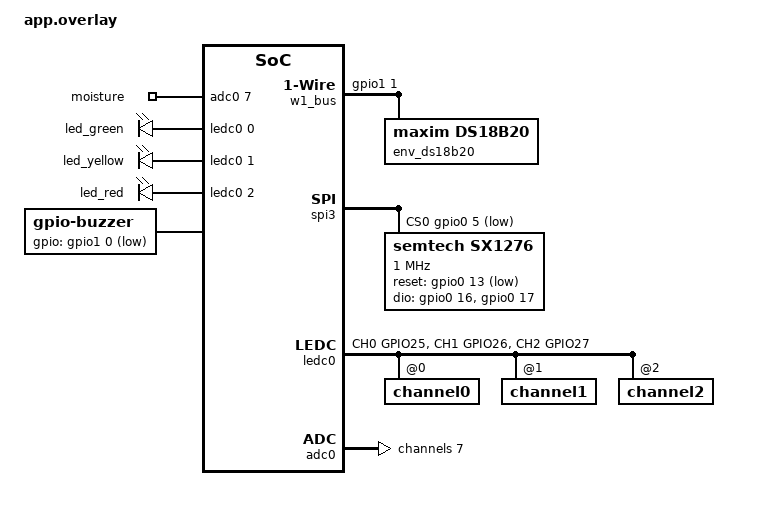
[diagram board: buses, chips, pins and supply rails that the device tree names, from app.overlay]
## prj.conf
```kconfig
CONFIG_GPIO=y
CONFIG_MIN_HEAP=y
CONFIG_ZMS=y
CONFIG_FLASH=y
CONFIG_FLASH_MAP=y

CONFIG_LOG=y
CONFIG_LOG_DEFAULT_LEVEL=3

CONFIG_SPI_LOG_LEVEL_WRN=y
CONFIG_FLASH_LOG_LEVEL_WRN=y
CONFIG_CLOCK_CONTROL_LOG_LEVEL_WRN=y

CONFIG_LORA=y
CONFIG_LORAWAN=y
CONFIG_LORAWAN_SYSTEM_MAX_RX_ERROR=100
CONFIG_LORAWAN_REGION_EU868=y

CONFIG_LORIS=y
CONFIG_STACK_SENTINEL=y
CONFIG_MAIN_STACK_SIZE=16384
CONFIG_SYSTEM_WORKQUEUE_STACK_SIZE=4096
CONFIG_LOG_MODE_IMMEDIATE=y

CONFIG_ADC=y
CONFIG_FPU=y

CONFIG_BUZZER=y
CONFIG_BUZZER_GPIO=y

CONFIG_SENSOR=y
CONFIG_W1=y
CONFIG_W1_NET=y

CONFIG_LED=y
CONFIG_LED_PWM=y
CONFIG_PWM=y

CONFIG_LORIS_RECONNECT_INTERVAL=10

# CONFIG_PM=y
# CONFIG_PM_DEVICE=y
# CONFIG_PM_LOG_LEVEL_DBG=y
# 
# CONFIG_COUNTER=y
```

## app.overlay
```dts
&spi3 {
  status = "okay";
  cs-gpios = <&gpio0 5 (GPIO_ACTIVE_LOW | GPIO_PULL_UP)>;

  sx1276: lora@0 {
    compatible = "semtech,sx1276";
    reg = <0>;

    reset-gpios = <&gpio0 13 GPIO_ACTIVE_LOW>;

    // order of dio pins matters - idx 0 -> DIO0, idx 1 -> DIO1 and so on
    dio-gpios = <&gpio0 16 (GPIO_PULL_DOWN | GPIO_ACTIVE_HIGH)>,
      <&gpio0 17 (GPIO_PULL_DOWN | GPIO_ACTIVE_HIGH)>;
    spi-max-frequency = <1000000>;
    power-amplifier-output = "pa-boost";
  };
};

&pinctrl {
  ledc0_default: ledc0_default {
    group1 {
      pinmux = <LEDC_CH0_GPIO25>;
      output-enable;
    };

    group2 {
      pinmux = <LEDC_CH1_GPIO26>;
      output-enable;
    };

    group3 {
      pinmux = <LEDC_CH2_GPIO27>;
      output-enable;
    };
  };
};

&ledc0 {
  pinctrl-0 = <&ledc0_default>;
  pinctrl-names = "default";
  status = "okay";
  #address-cells = <1>;
  #size-cells = <0>;

  channel0@0 {
    reg = <0x0>;
    timer = <0>;
  };

  channel1@1 {
    reg = <0x1>;
    timer = <0>;
  };

  channel2@2 {
    reg = <0x2>;
    timer = <0>;
  };
};


&adc0 {
    status = "okay";
    #address-cells = <1>;
    #size-cells = <0>;

    channel@7 {
        reg = <7>;
        zephyr,gain = "ADC_GAIN_1_4";
        zephyr,reference = "ADC_REF_INTERNAL";
        zephyr,acquisition-time = <ADC_ACQ_TIME_DEFAULT>;
        zephyr,resolution = <12>;
        zephyr,vref-mv = <1100>;
    };
};

/ {
  aliases {
    lora0 = &sx1276;
    led-green = &led_green;
    led-yellow = &led_yellow;
    led-red = &led_red;
    env-temp-sensor = &env_ds18b20;
    w1 = &w1_bus;
    buzzer = &buzzer;
  };

  zephyr,user {
    io-channels = <&adc0 7>;
    io-channel-names = "moisture";
  };

  pwmleds {
    compatible = "pwm-leds";
    led_green: led_green {
      pwms = <&ledc0 0 10000 PWM_POLARITY_NORMAL>;
    };

    led_yellow: led_yellow {
      pwms = <&ledc0 1 10000 PWM_POLARITY_NORMAL>;
    };

    led_red: led_red {
      pwms = <&ledc0 2 10000 PWM_POLARITY_NORMAL>;
    };
  };

  buzzer: buzzer {
    compatible = "gpio-buzzer";
    gpios = <&gpio1 0 (GPIO_ACTIVE_LOW | GPIO_PULL_UP)>;
  };

  w1_bus: w1-bus {
    compatible = "zephyr,w1-gpio";
    // gpio1 is the second gpio controller, offset by 32, thus 
    // 33 (actual pin) - 32 -> 1
    gpios = <&gpio1 1 (GPIO_ACTIVE_HIGH | GPIO_OPEN_DRAIN)>;
    status = "okay";

    env_ds18b20: ds18b20 {
      compatible = "maxim,ds18b20";
      family-code = <0x28>;
      resolution = <12>;
      status = "okay";
    };
  };
};
```

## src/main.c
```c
#include "loris/lorawan.h"
#include "loris/loris.h"
#include "loris/models/capabilities.h"
#include "loris/models/function.h"
#include "loris/models/report.h"
#include "zephyr/sys/printk.h"

#include <zephyr/drivers/adc.h>
#include <zephyr/drivers/buzzer.h>
#include <zephyr/drivers/gpio.h>
#include <zephyr/drivers/led.h>
#include <zephyr/drivers/sensor.h>
#include <zephyr/drivers/w1.h>
#include <zephyr/logging/log.h>
#include <zephyr/lorawan/lorawan.h>

#define LORAWAN_DEV_EUI { 0x21, 0x10, 0x6e, 0xd4, 0x4b, 0xc5, 0x9e, 0x32 }
#define LORAWAN_JOIN_EUI { 0xcc, 0xfb, 0x24, 0xc9, 0x56, 0x15, 0xab, 0xb1 }
#define LORAWAN_APP_KEY                                                        \
  { 0x60, 0x3f, 0xb4, 0xec, 0x9b, 0x21, 0x53, 0xc6,                            \
    0x97, 0x81, 0x99, 0x86, 0x80, 0x11, 0xd4, 0xa1 }

LOG_MODULE_REGISTER(mvp_dev, LOG_LEVEL_INF);

#define REJOIN_RETRY_SECONDS 5
#define MOISTURE_SENSOR_DRY_MV 2500
#define MOISTURE_SENSOR_WET_MV 1000

report_t temp_report(sensor_t* sensor) {
  report_t sample_report = { .sensor_id = 1,
                             .value.int_val = 22,
                             .which_value = REPORT_VALUE_INT };
  return sample_report;
}

void hello_world(void* unused) { printk("Hello world! \n"); };

static const struct led_dt_spec led_green =
    LED_DT_SPEC_GET(DT_ALIAS(led_green));
static const struct led_dt_spec led_yellow =
    LED_DT_SPEC_GET(DT_ALIAS(led_yellow));
static const struct led_dt_spec led_red = LED_DT_SPEC_GET(DT_ALIAS(led_red));
static const struct led_dt_spec leds[3] = { led_green, led_yellow, led_red };
static const size_t n_leds = sizeof(leds) / sizeof(leds[0]);

static const struct device* env_temp_sensor =
    DEVICE_DT_GET(DT_ALIAS(env_temp_sensor));

static const struct adc_dt_spec moisture_sensor_adc =
    ADC_DT_SPEC_GET_BY_NAME(DT_PATH(zephyr_user), moisture);
static int32_t moisture_sensor_adc_buf[1] = { 0 };
static struct adc_sequence moisture_sensor_adc_seq = {
  .buffer = &moisture_sensor_adc_buf,
  .buffer_size = sizeof(moisture_sensor_adc_buf),
};

static const struct device* buzzer = DEVICE_DT_GET(DT_ALIAS(buzzer));

// NOTE: === REPORTS ===
bool read_temp(const struct device* dev, struct sensor_value* out) {
  if (sensor_sample_fetch_chan(dev, SENSOR_CHAN_AMBIENT_TEMP) != 0) {
    LOG_WRN("Failed to fetch sensor temperature channel");
    return false;
  }

  if (sensor_channel_get(dev, SENSOR_CHAN_AMBIENT_TEMP, out) != 0) {
    LOG_WRN("Failed to get temperature data from buffer");
    return false;
  }

  return true;
}

report_t report_env_temp(sensor_t* sensor) {
  LOG_INF("Reporting environment temperature");

  struct sensor_value sensor_value;
  float value;
  if (!read_temp(env_temp_sensor, &sensor_value)) {
    LOG_WRN("Reading environment temperature failed");
    value = -1.0;
  } else {
    value = sensor_value_to_float(&sensor_value);
    LOG_INF("Read environment temp=%f", (double)value);
  }
  report_t env_temp_report = { .sensor_id = sensor->id,
                               .which_value = REPORT_VALUE_FLOAT,
                               .value.float_val = value };
  return env_temp_report;
}

// returns a percentage
bool read_moisture(
    const struct adc_dt_spec* adc,
    const struct adc_sequence* adc_seq,
    int32_t* adc_buf,
    float* out
) {
  if (adc_read_dt(adc, adc_seq) < 0) {
    LOG_ERR("Error reading moisture raw");
    return false;
  }

  LOG_INF("Moisture raw=%d", adc_buf[0]);

  int32_t moisture_mv = adc_buf[0];
  if (adc_raw_to_millivolts_dt(adc, &moisture_mv) != 0) {
    LOG_WRN("Couldn't convert raw moisture to mV");
    return false;
  }

  LOG_INF("Moisture as voltage U=%dmV", moisture_mv);

  if (moisture_mv < MOISTURE_SENSOR_WET_MV) {
    LOG_WRN(
        "Moisture mV smaller than WET_MV=%d, this could indicate no physical "
        "connection",
        MOISTURE_SENSOR_WET_MV
    );
    return false;
  }

  float moisture_perc =
      ((float)(MOISTURE_SENSOR_DRY_MV - moisture_mv) /
       (float)(MOISTURE_SENSOR_DRY_MV - MOISTURE_SENSOR_WET_MV)) *
      100;

  *out = CLAMP(moisture_perc, 0, 100);
  return true;
}

report_t report_moisture(sensor_t* sensor) {
  LOG_INF("Reporting moisture");

  float moisture;
  if (!read_moisture(
          &moisture_sensor_adc,
          &moisture_sensor_adc_seq,
          moisture_sensor_adc_buf,
          &moisture
      )) {
    LOG_WRN("Reading moisture failed");
    moisture = -1;
  }

  report_t moisture_report = {
    .sensor_id = sensor->id,
    .which_value = REPORT_VALUE_FLOAT,
    .value.float_val = moisture,
  };

  return moisture_report;
}

// NOTE: === FUNCTIONS ===
void function_buzz_beep(void* v_msecs) {
  int32_t msecs = *(int32_t*)v_msecs;
  if (msecs < 0) {
    LOG_WRN("Invalid beep time: %d - smaller than 0", msecs);
    return;
  }

  buzzer_beep(buzzer, msecs);
}

void function_set_led_green(void* v_brightness) {
  int32_t brightness = *(int32_t*)v_brightness;
  brightness = CLAMP(brightness, 0, 100);
  led_set_brightness_dt(&led_green, brightness);
}

void function_set_led_yellow(void* v_brightness) {
  int32_t brightness = *(int32_t*)v_brightness;
  brightness = CLAMP(brightness, 0, 100);
  led_set_brightness_dt(&led_yellow, brightness);
}

void function_set_led_red(void* v_brightness) {
  int32_t brightness = *(int32_t*)v_brightness;
  brightness = CLAMP(brightness, 0, 100);
  led_set_brightness_dt(&led_red, brightness);
}

// NOTE: === SETUP ===
bool setup_devices(void) {
  LOG_INF("Setting up devices");

  LOG_INF("Setting up LEDs");
  for (size_t i = 0; i < n_leds; i++) {
    if (!led_is_ready_dt(&leds[i])) {
      LOG_ERR("LED #%d is not ready!", i);
      return false;
    }
  }

  LOG_INF("Setting up temperature sensor");
  if (!device_is_ready(env_temp_sensor)) {
    LOG_ERR("Env temp sensor is not ready!");
    return false;
  }

  LOG_INF("Setting up ADC moisture sensor");
  if (!adc_is_ready_dt(&moisture_sensor_adc)) {
    LOG_ERR("Moisture sensor ADC is not ready!");
    return false;
  }
  if (adc_channel_setup_dt(&moisture_sensor_adc)) {
    LOG_ERR("Error configuring moisture sensor ADC!");
    return false;
  }
  adc_sequence_init_dt(&moisture_sensor_adc, &moisture_sensor_adc_seq);

  LOG_INF("Setting up buzzer");
  if (!device_is_ready(buzzer)) {
    LOG_ERR("Buzzer is not ready!");
    return false;
  }

  LOG_INF("Devices setup finished successfully");
  return true;
}

int main() {
  uint8_t dev_eui[] = LORAWAN_DEV_EUI;
  uint8_t join_eui[] = LORAWAN_JOIN_EUI;
  uint8_t app_key[] = LORAWAN_APP_KEY;

  lr_lw_join_otaa_config_t cfg = {
    .dev_eui = dev_eui,
    .join_eui = join_eui,
    .app_key = app_key,
    .nwk_key = app_key,
  };

  while (lr_lw_join_otaa(&cfg, LORAWAN_REGION_EU868) != LR_LW_OK) {
    LOG_ERR("Joining LoRaWAN failed. Trying again in %i", REJOIN_RETRY_SECONDS);
    k_sleep(K_SECONDS(REJOIN_RETRY_SECONDS));
  }

  lr_lw_set_adr_mode(false);
  if (lr_lw_set_datarate(LORAWAN_DR_5) != LR_LW_OK) {
    LOG_ERR("Failed to set datarate!");
  }
  // lr_lw_set_adr_mode(true);

  setup_devices();

  capabilities_t capabilities;

  capabilities_init(&capabilities, "loris_sample", DEVICE_CLASS_A);
  capabilities_add_sensor(
      &capabilities,
      "env_temp_sensor",
      // "Measures the temperature of the environment",
      "",
      SENSOR_VALUE_TYPE_FLOAT,
      SENSOR_SEMANTICS_TEMPERATURE,
      "C",
      &report_env_temp,
      10
  );
  capabilities_add_sensor(
      &capabilities,
      "moisture_sensor",
      // "Measures the soil moisture in the greenhouse",
      "",
      SENSOR_VALUE_TYPE_FLOAT,
      SENSOR_SEMANTICS_MOISTURE,
      "%",
      &report_moisture,
      15
  );

  capabilities_add_function(
      &capabilities,
      "beep_msecs",
      "Beep for n msecs",
      FUNC_ARG_TYPE_INT,
      &function_buzz_beep,
      -1
  );

  capabilities_add_function(
      &capabilities,
      "set_led_green",
      "Brightness: 0-100",
      FUNC_ARG_TYPE_INT,
      &function_set_led_green,
      -1
  );

  capabilities_add_function(
      &capabilities,
      "set_led_yellow",
      "Brightness: 0-100",
      FUNC_ARG_TYPE_INT,
      &function_set_led_yellow,
      -1
  );

  capabilities_add_function(
      &capabilities,
      "set_led_red",
      "Brightness: 0-100",
      FUNC_ARG_TYPE_INT,
      &function_set_led_red,
      -1
  );

  LOG_INF("Starting main loop");
  lr_start(&capabilities);

  return 0;
}
```
